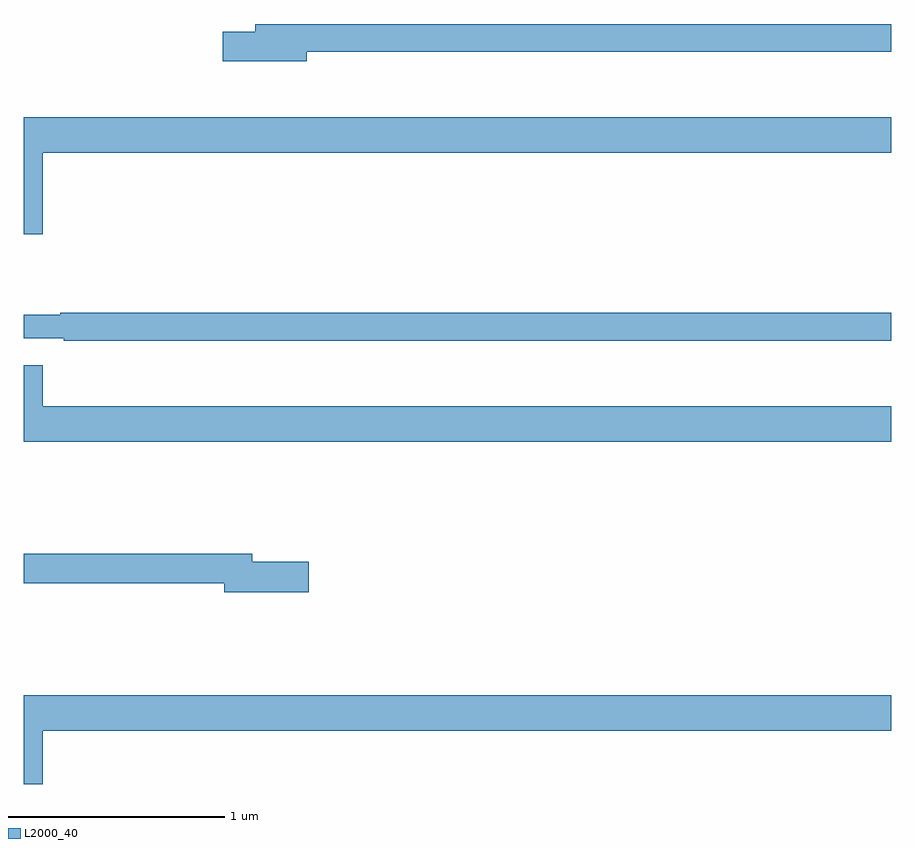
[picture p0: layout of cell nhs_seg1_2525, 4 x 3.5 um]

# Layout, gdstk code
import gdstk
lib = gdstk.Library(unit=1e-6, precision=1e-09)
def P(c, l, *ps):  # polygons
    for p in ps: c.add(gdstk.Polygon(p, *l))
L2000_40 = (2000, 40)

nhs_seg1_2525 = lib.new_cell('nhs_seg1_2525')
P(nhs_seg1_2525, L2000_40, [(250.306,509.574),(253,509.574),(253,509.702),(250.067,509.702),(250.067,509.666),(249.918,509.666),(249.918,509.531),(250.306,509.531)],
  [(249.088,509.108),(253,509.108),(253,509.272),(249,509.272),(249,508.734),(249.088,508.734)],
  [(253,508.37),(249.17,508.37),(249.17,508.363),(249,508.363),(249,508.254),(249.184,508.254),(249.184,508.242),(253,508.242)],
  [(253,507.94),(249.088,507.94),(249.088,508.129),(249,508.129),(249,507.776),(253,507.776)],
  [(250.315,507.224),(250.054,507.224),(250.054,507.26),(249,507.26),(249,507.124),(249.926,507.124),(249.926,507.082),(250.315,507.082)],
  [(249.088,506.444),(253,506.444),(253,506.608),(249,506.608),(249,506.199),(249.088,506.199)])

lib.write_gds('nhs_seg1_2525.gds')
